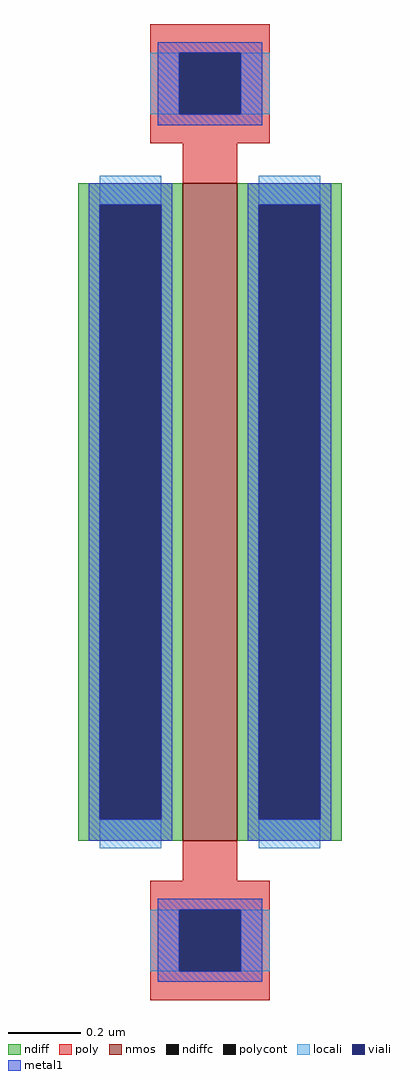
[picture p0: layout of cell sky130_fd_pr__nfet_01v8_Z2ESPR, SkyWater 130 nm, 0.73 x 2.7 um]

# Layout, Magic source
magic
tech sky130A
magscale 1 2
<< nmos >>
rect -15 -182 15 182
<< ndiff >>
rect -73 170 -15 182
rect -73 -170 -61 170
rect -27 -170 -15 170
rect -73 -182 -15 -170
rect 15 170 73 182
rect 15 -170 27 170
rect 61 -170 73 170
rect 15 -182 73 -170
<< ndiffc >>
rect -61 -170 -27 170
rect 27 -170 61 170
<< poly >>
rect -33 254 33 270
rect -33 220 -17 254
rect 17 220 33 254
rect -33 204 33 220
rect -15 182 15 204
rect -15 -204 15 -182
rect -33 -220 33 -204
rect -33 -254 -17 -220
rect 17 -254 33 -220
rect -33 -270 33 -254
<< polycont >>
rect -17 220 17 254
rect -17 -254 17 -220
<< locali >>
rect -33 220 -17 254
rect 17 220 33 254
rect -61 170 -27 186
rect -61 -186 -27 -170
rect 27 170 61 186
rect 27 -186 61 -170
rect -33 -254 -17 -220
rect 17 -254 33 -220
<< viali >>
rect -17 220 17 254
rect -61 -170 -27 170
rect 27 -170 61 170
rect -17 -254 17 -220
<< metal1 >>
rect -29 254 29 260
rect -29 220 -17 254
rect 17 220 29 254
rect -29 214 29 220
rect -67 170 -21 182
rect -67 -170 -61 170
rect -27 -170 -21 170
rect -67 -182 -21 -170
rect 21 170 67 182
rect 21 -170 27 170
rect 61 -170 67 170
rect 21 -182 67 -170
rect -29 -220 29 -214
rect -29 -254 -17 -220
rect 17 -254 29 -220
rect -29 -260 29 -254
<< properties >>
string gencell sky130_fd_pr__nfet_01v8
string library sky130
string parameters w 1.82 l 0.15 m 1 nf 1 diffcov 100 polycov 100 guard 0 glc 1 grc 1 gtc 1 gbc 1 tbcov 100 rlcov 100 topc 1 botc 1 poverlap 0 doverlap 1 lmin 0.15 wmin 0.42 compatible {sky130_fd_pr__nfet_01v8 sky130_fd_pr__nfet_01v8_lvt  sky130_fd_bs_flash__special_sonosfet_star  sky130_fd_pr__nfet_g5v0d10v5 sky130_fd_pr__nfet_05v0_nvt  sky130_fd_pr__nfet_03v3_nvt} full_metal 0 viasrc 100 viadrn 100 viagate 100 viagb 0 viagr 0 viagl 0 viagt 0
<< end >>
